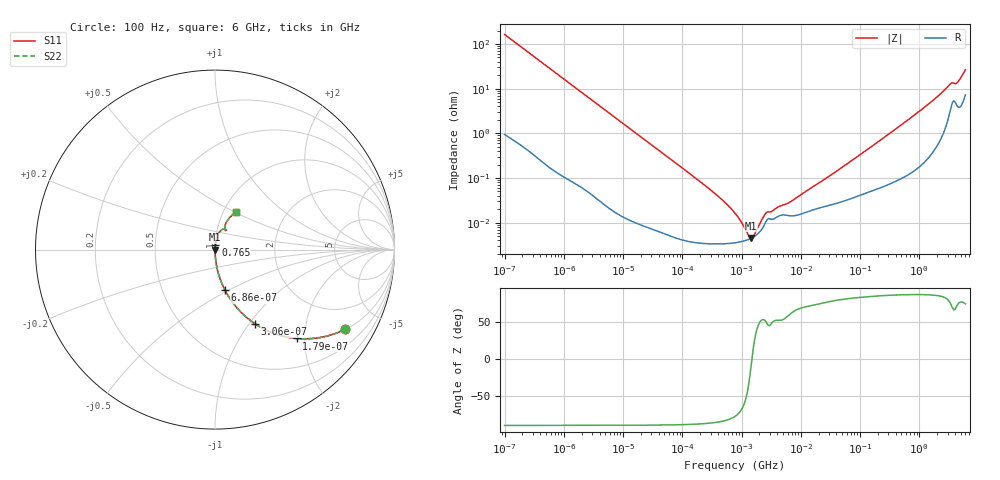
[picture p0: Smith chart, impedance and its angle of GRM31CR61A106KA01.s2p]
!Murata Part Number: GRM31CR61A106KA01
!These Parameters are Measured in Series Mode Connection
!Data Generated on Mar 30, 2021
!  o--ll--o
!Port1  Port2
!  o------o
!Operation Temp=25[degC], DC Bias Voltage=0[V]
!Freq. Start=100[Hz] Stop=6[GHz] 401[Steps]
# Hz S RI R 50
!Freq.(Hz) S11(Real) S11(Imag) S21(Real) S21(Imag) S12(Real) S12(Imag) S22(Real) S22(Imag)
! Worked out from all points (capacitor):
!   401 points, 100 Hz to 6 GHz, reference 50 ohm
!   read as one part in series: C = 9.75 uF near 109 Hz
!   lowest |Z| = 4.54 mohm at 1.45 MHz (marker M1)
!   series resonance near 1.496 MHz, so ESL is about 1.2 nH
!   S11 on the Smith chart (normalised r, x): 100 Hz: 1.02, -3.26; 179 Hz: 1.01, -1.83; 306 Hz: 1.01, -1.07; 686 Hz: 1.00, -0.48; 765 MHz: 1.00, +0.05; 6 GHz: 1.14, +0.51
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100  0.7256 -0.4434  0.2744 0.4434  0.2744 0.4434  0.7256 -0.4434
179  0.455 -0.4949  0.545 0.4949  0.545 0.4949  0.455 -0.4949
306  0.2238 -0.4137  0.7762 0.4137  0.7762 0.4137  0.2238 -0.4137
458  0.1151 -0.3161  0.8849 0.3161  0.8849 0.3161  0.1151 -0.3161
686  0.0555 -0.2259  0.9445 0.2259  0.9445 0.2259  0.0555 -0.2259
2008  0.0073 -0.0815  0.9927 0.0815  0.9927 0.0815  0.0073 -0.0815
6433  0.000854 -0.0258  0.9991 0.0258  0.9991 0.0258  0.000854 -0.0258
40335  7.93e-05 -0.00414  0.9999 0.00414  0.9999 0.00414  7.93e-05 -0.00414
330837  3.37e-05 -0.000484  1 0.000484  1 0.000484  3.37e-05 -0.000484
774597  3.54e-05 -0.00016  1 0.00016  1 0.00016  3.54e-05 -0.00016
1013323  3.79e-05 -9.06e-05  1 9.06e-05  1 9.06e-05  3.79e-05 -9.06e-05
1449809  4.48e-05 -7.1e-06  1 7.1e-06  1 7.1e-06  4.48e-05 -7.1e-06
1983483  6.04e-05 6.72e-05  0.9999 -6.72e-05  0.9999 -6.72e-05  6.04e-05 6.72e-05
2713602  0.000118 0.000127  0.9999 -0.000127  0.9999 -0.000127  0.000118 0.000127
6353432  0.000143 0.000242  0.9999 -0.000242  0.9999 -0.000242  0.000143 0.000242
1.555665e7  0.000191 0.00059  0.9998 -0.00059  0.9998 -0.00059  0.000191 0.00059
3.124326e8  0.000822 0.00979  0.9992 -0.00979  0.9992 -0.00979  0.000822 0.00979
7.650043e8  0.00191 0.0236  0.9981 -0.0236  0.9981 -0.0236  0.00191 0.0236
1.791126e9  0.00742 0.0569  0.9926 -0.0569  0.9926 -0.0569  0.00742 0.0569
3.205649e9  0.0379 0.1106  0.9621 -0.1106  0.9621 -0.1106  0.0379 0.1106
4.385646e9  0.0538 0.1184  0.9462 -0.1184  0.9462 -0.1184  0.0538 0.1184
6e9  0.1172 0.2096  0.8828 -0.2096  0.8828 -0.2096  0.1172 0.2096
